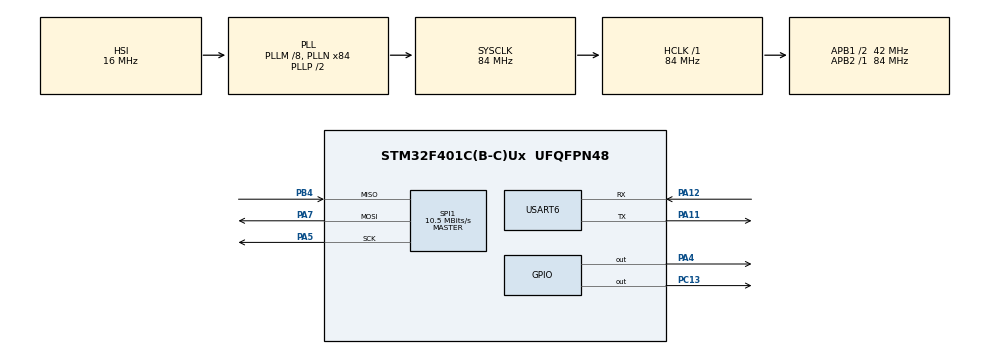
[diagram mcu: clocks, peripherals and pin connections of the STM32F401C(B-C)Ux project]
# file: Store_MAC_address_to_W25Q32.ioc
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Mcu.Family=STM32F4
Mcu.Name=STM32F401C(B-C)Ux
Mcu.Package=UFQFPN48
NVIC.PriorityGroup=NVIC_PRIORITYGROUP_4
NVIC.TIM2_IRQn=true\:0\:0\:false\:false\:true\:true\:true
NVIC.USART6_IRQn=true\:0\:0\:false\:false\:true\:true\:true
PA11.GPIO_Speed=GPIO_SPEED_FREQ_MEDIUM
PA11.Mode=Asynchronous
PA11.Signal=USART6_TX
PA12.GPIO_PuPd=GPIO_PULLUP
PA12.GPIO_Speed=GPIO_SPEED_FREQ_MEDIUM
PA12.Mode=Asynchronous
PA12.Signal=USART6_RX
PA13.Mode=Serial_Wire
PA13.Signal=SYS_JTMS-SWDIO
PA14.Mode=Serial_Wire
PA14.Signal=SYS_JTCK-SWCLK
PA4.GPIO_Speed=GPIO_SPEED_FREQ_HIGH
PA4.PinState=GPIO_PIN_SET
PA4.Signal=GPIO_Output
PA5.Mode=Full_Duplex_Master
PA5.Signal=SPI1_SCK
PA7.Mode=Full_Duplex_Master
PA7.Signal=SPI1_MOSI
PB4.Mode=Full_Duplex_Master
PB4.Signal=SPI1_MISO
PC13-ANTI_TAMP.PinState=GPIO_PIN_SET
PC13-ANTI_TAMP.Signal=GPIO_Output
PH0\ -\ OSC_IN.Mode=HSE-External-Oscillator
PH0\ -\ OSC_IN.Signal=RCC_OSC_IN
PH1\ -\ OSC_OUT.Mode=HSE-External-Oscillator
PH1\ -\ OSC_OUT.Signal=RCC_OSC_OUT
ProjectManager.HeapSize=0x500
ProjectManager.StackSize=0x1000
ProjectManager.TargetToolchain=MDK-ARM V5
RCC.48MHZClocksFreq_Value=42000000
RCC.AHBFreq_Value=84000000
RCC.APB1CLKDivider=RCC_HCLK_DIV2
RCC.APB1Freq_Value=42000000
RCC.APB1TimFreq_Value=84000000
RCC.APB2Freq_Value=84000000
RCC.APB2TimFreq_Value=84000000
RCC.CortexFreq_Value=84000000
RCC.HCLKFreq_Value=84000000
RCC.HSE_VALUE=25000000
RCC.HSI_VALUE=16000000
RCC.LSE_VALUE=32768
RCC.PLLM=8
RCC.PLLN=84
RCC.SYSCLKFreq_VALUE=84000000
RCC.SYSCLKSource=RCC_SYSCLKSOURCE_PLLCLK
RCC.VCOOutputFreq_Value=168000000
SPI1.BaudRatePrescaler=SPI_BAUDRATEPRESCALER_8
SPI1.CLKPhase=SPI_PHASE_2EDGE
SPI1.CLKPolarity=SPI_POLARITY_HIGH
SPI1.CalculateBaudRate=10.5 MBits/s
SPI1.Direction=SPI_DIRECTION_2LINES
SPI1.Mode=SPI_MODE_MASTER
SPI1.VirtualType=VM_MASTER
TIM2.AutoReloadPreload=TIM_AUTORELOAD_PRELOAD_ENABLE
TIM2.Period=999
TIM2.Prescaler=8399
USART6.VirtualMode=VM_ASYNC
VP_TIM2_VS_ClockSourceINT.Mode=Internal
board=custom

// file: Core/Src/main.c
/* USER CODE BEGIN Header */
/**
  ******************************************************************************
  * @file           : main.c
  * @brief          : Main program body
  ******************************************************************************
  * @attention
  *
  * <h2><center>&copy; Copyright (c) 2022 STMicroelectronics.
  * All rights reserved.</center></h2>
  *
  * This software component is licensed by ST under BSD 3-Clause license,
  * the "License"; You may not use this file except in compliance with the
  * License. You may obtain a copy of the License at:
  *                        opensource.org/licenses/BSD-3-Clause
  *
	<read me first> Xiaofeng Zhong 2022.7.10
		SPI_CS          PA4
		LED2            PC13
	  note 1: set --> Target --> choose "use MicroLIB" for using printf().
  ******************************************************************************
  */
/* USER CODE END Header */
#include "main.h"

/* USER CODE BEGIN PTD */
#include "W25Qxx.h"
#include "stdio.h"
#include "string.h"
/* USER CODE END PTD */

/* USER CODE BEGIN PD */
#define E18_number      3					       // number of E18 chips
#define addr_for_software_params  0x00   //0~0x1000 is used for storging software params (W25Q32)
#define addr_for_SV_state 0x1000   //0x1000~0x11000 is used for storging pump_state
#define addr_for_E18_short_addr 0x11000   //0x11000~0x31000 is used for storging software params (W25Q32)
#define W25Qxx_addr_for_Mac   0x31000   //0x31000~0xB1000  write and read begin at this address
/* USER CODE END PD */

SPI_HandleTypeDef hspi1;
TIM_HandleTypeDef htim2;
UART_HandleTypeDef huart6;

void SystemClock_Config(void);
static void MX_GPIO_Init(void);
static void MX_SPI1_Init(void);
static void MX_TIM2_Init(void);
static void MX_USART6_UART_Init(void);
/* USER CODE BEGIN PFP */
void W25Q32_Init(void);
int fputc(int ch, FILE *f);  //note!!! set --> Target --> choose "use MicroLIB"
int Write_Mac_to_W25Q32(void);
/* USER CODE END PFP */

/* USER CODE BEGIN 0 */
uint8_t led_state=0;

// append the list with your address;
uint8_t E18_mac_list[E18_number][8]={{0x6E,0x37,0xE5,0x0F,0x00,0x4B,0x12,0x00},{0xB3,0x2F,0x3C,0x16,0x00,0x4B,0x12,0x00},{0x34,0x3F,0x26,0x1C,0x00,0x4B,0x12,0x00}};//MAC address list, which will be saveed to nor flash(W25Q32) .
//	E18_number: 1~65535

	/* USER CODE END 0 */

int main(void)
{

  /* MCU Configuration--------------------------------------------------------*/

  /* Reset of all peripherals, Initializes the Flash interface and the Systick. */
  HAL_Init();

  /* Configure the system clock */
  SystemClock_Config();

  /* Initialize all configured peripherals */
  MX_GPIO_Init();
  MX_SPI1_Init();
  MX_TIM2_Init();
  MX_USART6_UART_Init();
  /* USER CODE BEGIN 2 */
	HAL_Delay(1000);
	HAL_TIM_Base_Start_IT(&htim2);
	W25Q32_Init();
	W25QXX_Erase_Chip();
	HAL_Delay(100);
  /* USER CODE END 2 */

  /* Infinite loop */
  while (1)
  {

    /* USER CODE BEGIN 3 */
			printf("Write_Mac_to_W25Q32....waiting\n");
			if (Write_Mac_to_W25Q32()==1){
						while (1){printf("Write_Mac OK....\n");HAL_Delay(5000);}
			}
			else{
						while (1){printf("Write_Mac failed....\n");HAL_Delay(5000);}
			}

  }
  /* USER CODE END 3 */
}

void SystemClock_Config(void)
{
  RCC_OscInitTypeDef RCC_OscInitStruct = {0};
  RCC_ClkInitTypeDef RCC_ClkInitStruct = {0};

  /** Configure the main internal regulator output voltage
  */
  __HAL_RCC_PWR_CLK_ENABLE();
  __HAL_PWR_VOLTAGESCALING_CONFIG(PWR_REGULATOR_VOLTAGE_SCALE2);
  /** Initializes the RCC Oscillators according to the specified parameters
  * in the RCC_OscInitTypeDef structure.
  */
  RCC_OscInitStruct.OscillatorType = RCC_OSCILLATORTYPE_HSI;
  RCC_OscInitStruct.HSIState = RCC_HSI_ON;
  RCC_OscInitStruct.HSICalibrationValue = RCC_HSICALIBRATION_DEFAULT;
  RCC_OscInitStruct.PLL.PLLState = RCC_PLL_ON;
  RCC_OscInitStruct.PLL.PLLSource = RCC_PLLSOURCE_HSI;
  RCC_OscInitStruct.PLL.PLLM = 8;
  RCC_OscInitStruct.PLL.PLLN = 84;
  RCC_OscInitStruct.PLL.PLLP = RCC_PLLP_DIV2;
  RCC_OscInitStruct.PLL.PLLQ = 4;
  if (HAL_RCC_OscConfig(&RCC_OscInitStruct) != HAL_OK)
  {
    Error_Handler();
  }
  /** Initializes the CPU, AHB and APB buses clocks
  */
  RCC_ClkInitStruct.ClockType = RCC_CLOCKTYPE_HCLK|RCC_CLOCKTYPE_SYSCLK
                              |RCC_CLOCKTYPE_PCLK1|RCC_CLOCKTYPE_PCLK2;
  RCC_ClkInitStruct.SYSCLKSource = RCC_SYSCLKSOURCE_PLLCLK;
  RCC_ClkInitStruct.AHBCLKDivider = RCC_SYSCLK_DIV1;
  RCC_ClkInitStruct.APB1CLKDivider = RCC_HCLK_DIV2;
  RCC_ClkInitStruct.APB2CLKDivider = RCC_HCLK_DIV1;

  if (HAL_RCC_ClockConfig(&RCC_ClkInitStruct, FLASH_LATENCY_2) != HAL_OK)
  {
    Error_Handler();
  }
}

static void MX_SPI1_Init(void)
{

  /* SPI1 parameter configuration*/
  hspi1.Instance = SPI1;
  hspi1.Init.Mode = SPI_MODE_MASTER;
  hspi1.Init.Direction = SPI_DIRECTION_2LINES;
  hspi1.Init.DataSize = SPI_DATASIZE_8BIT;
  hspi1.Init.CLKPolarity = SPI_POLARITY_HIGH;
  hspi1.Init.CLKPhase = SPI_PHASE_2EDGE;
  hspi1.Init.NSS = SPI_NSS_SOFT;
  hspi1.Init.BaudRatePrescaler = SPI_BAUDRATEPRESCALER_8;
  hspi1.Init.FirstBit = SPI_FIRSTBIT_MSB;
  hspi1.Init.TIMode = SPI_TIMODE_DISABLE;
  hspi1.Init.CRCCalculation = SPI_CRCCALCULATION_DISABLE;
  hspi1.Init.CRCPolynomial = 10;
  if (HAL_SPI_Init(&hspi1) != HAL_OK)
  {
    Error_Handler();
  }

}

static void MX_TIM2_Init(void)
{

  TIM_ClockConfigTypeDef sClockSourceConfig = {0};
  TIM_MasterConfigTypeDef sMasterConfig = {0};

  htim2.Instance = TIM2;
  htim2.Init.Prescaler = 8399;
  htim2.Init.CounterMode = TIM_COUNTERMODE_UP;
  htim2.Init.Period = 999;
  htim2.Init.ClockDivision = TIM_CLOCKDIVISION_DIV1;
  htim2.Init.AutoReloadPreload = TIM_AUTORELOAD_PRELOAD_ENABLE;
  if (HAL_TIM_Base_Init(&htim2) != HAL_OK)
  {
    Error_Handler();
  }
  sClockSourceConfig.ClockSource = TIM_CLOCKSOURCE_INTERNAL;
  if (HAL_TIM_ConfigClockSource(&htim2, &sClockSourceConfig) != HAL_OK)
  {
    Error_Handler();
  }
  sMasterConfig.MasterOutputTrigger = TIM_TRGO_RESET;
  sMasterConfig.MasterSlaveMode = TIM_MASTERSLAVEMODE_DISABLE;
  if (HAL_TIMEx_MasterConfigSynchronization(&htim2, &sMasterConfig) != HAL_OK)
  {
    Error_Handler();
  }

}

static void MX_USART6_UART_Init(void)
{

  huart6.Instance = USART6;
  huart6.Init.BaudRate = 115200;
  huart6.Init.WordLength = UART_WORDLENGTH_8B;
  huart6.Init.StopBits = UART_STOPBITS_1;
  huart6.Init.Parity = UART_PARITY_NONE;
  huart6.Init.Mode = UART_MODE_TX_RX;
  huart6.Init.HwFlowCtl = UART_HWCONTROL_NONE;
  huart6.Init.OverSampling = UART_OVERSAMPLING_16;
  if (HAL_UART_Init(&huart6) != HAL_OK)
  {
    Error_Handler();
  }

}

static void MX_GPIO_Init(void)
{
  GPIO_InitTypeDef GPIO_InitStruct = {0};

  /* GPIO Ports Clock Enable */
  __HAL_RCC_GPIOC_CLK_ENABLE();
  __HAL_RCC_GPIOH_CLK_ENABLE();
  __HAL_RCC_GPIOA_CLK_ENABLE();
  __HAL_RCC_GPIOB_CLK_ENABLE();

  /*Configure GPIO pin Output Level */
  HAL_GPIO_WritePin(GPIOC, GPIO_PIN_13, GPIO_PIN_SET);

  /*Configure GPIO pin Output Level */
  HAL_GPIO_WritePin(GPIOA, GPIO_PIN_4, GPIO_PIN_SET);

  /*Configure GPIO pin : PC13 */
  GPIO_InitStruct.Pin = GPIO_PIN_13;
  GPIO_InitStruct.Mode = GPIO_MODE_OUTPUT_PP;
  GPIO_InitStruct.Pull = GPIO_NOPULL;
  GPIO_InitStruct.Speed = GPIO_SPEED_FREQ_LOW;
  HAL_GPIO_Init(GPIOC, &GPIO_InitStruct);

  /*Configure GPIO pin : PA4 */
  GPIO_InitStruct.Pin = GPIO_PIN_4;
  GPIO_InitStruct.Mode = GPIO_MODE_OUTPUT_PP;
  GPIO_InitStruct.Pull = GPIO_NOPULL;
  GPIO_InitStruct.Speed = GPIO_SPEED_FREQ_HIGH;
  HAL_GPIO_Init(GPIOA, &GPIO_InitStruct);

}

/* USER CODE BEGIN 4 */
int Write_Mac_to_W25Q32(void){
	W25QXX_Write_Enable();int address_cnt=0;uint8_t W25Q32_read_buff[0xff];
	for (int i=0;i<E18_number;i++){

	W25QXX_Write((uint8_t*)&E18_mac_list[i],(W25Qxx_addr_for_Mac+address_cnt),8);
	address_cnt+=8;

	}
	W25QXX_Write_Disable();
	for(int i=0;i<0x0100FE;i++){

	}
	W25QXX_Read((uint8_t*)W25Q32_read_buff,0,0xff);
		for(int i=0;i<0xff;i++){
	printf("%02x",W25Q32_read_buff[i]);}
return 1;
}
void HAL_TIM_PeriodElapsedCallback(TIM_HandleTypeDef *htim){
	if (htim->Instance == htim2.Instance)
	{
		if (led_state){
		HAL_GPIO_WritePin(GPIOC, GPIO_PIN_13,GPIO_PIN_RESET);
		}else{HAL_GPIO_WritePin(GPIOC, GPIO_PIN_13,GPIO_PIN_SET);}
		led_state=!led_state;
	}
}
void W25Q32_Init(void){
	printf("W25QXX Init :%d\n",W25QXX_Init());
	printf("W25QXX ID :%d\n",W25QXX_ReadID());
}
int fputc(int ch, FILE *f){
    HAL_UART_Transmit(&huart6, (uint8_t *)&ch,1, 0xFFFF);
    return ch;
}
/* USER CODE END 4 */

void Error_Handler(void)
{
  __disable_irq();
  while (1)
  {
  }
}

/************************ (C) COPYRIGHT STMicroelectronics *****END OF FILE****/
